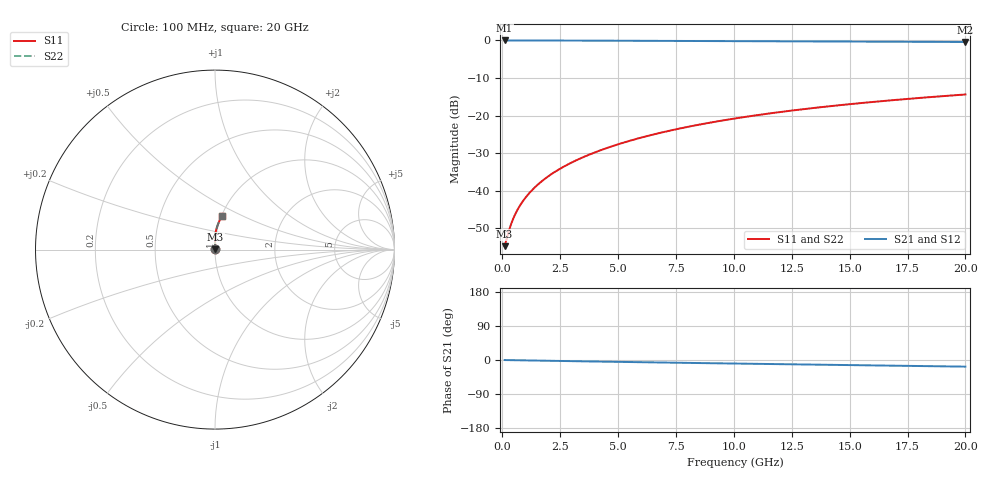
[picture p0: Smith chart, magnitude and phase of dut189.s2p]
! Touchstone file exported from HFSS 2024.1.0
!  File:  C:/UserFiles/LocalFiles/RDL_TSV_Batchsim/temp_RDL_bottom_189_1778699022.aedt
!  Generated:  03:06:36 AM May 14, 2026
!  Design:  RDL_bottom
!  Project:  temp_RDL_bottom_189_1778699022
!  Setup:  Setup1
!  Solution:  Sweep
! Variables:
!  dtsv = 10.80580581um
!  hbump = 3um
!  htsv = 62.81um
!  ldown = 204.89um
!  lrdl = 100um
!  p = 40
!  p1 = 55.94um
!  rhole = 1um
!  t = 450um
!  tdown = 2.21um
!  trdl = 3.915915916um
!  wdown = 27.74um
!  wrdl = 20um
# GHz S MA R 50.000000
! Terminal data exported
! Port[1] = RDL1_T1
! Port[2] = RDL1_T2
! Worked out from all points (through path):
!   200 points, 100 MHz to 20 GHz, reference 50 ohm
!   highest |S21| = -0.01 dB at 100 MHz (marker M1); lowest = -0.4 dB at 20 GHz (marker M2)
!   group delay of S21, straight-line fit = 2.4 ps
!   lowest |S11| = -54.8 dB at 100 MHz (marker M3), VSWR 1.00, Z = 50.2 + j0.0855 ohm
!   |S11| at or under -10 dB: start of sweep to end of sweep
!   |S22| runs from -54.8 to -14.4 dB; largest |S21 - S12| = 4.1e-15
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0.1  0.001821 27.9  0.9984 -0.1  0.9984 -0.1  0.001821 27.9
! Gamma 0 0 0 0
! Port Impedance 50 0 50 0
0.3  0.003023 55.8  0.9982 -0.3  0.9982 -0.3  0.003023 55.8
0.4  0.003725 62.0  0.9982 -0.4  0.9982 -0.4  0.003725 62.0
0.5  0.004437 66.2  0.9981 -0.5  0.9981 -0.5  0.004437 66.2
0.6  0.005152 69.3  0.998 -0.6  0.998 -0.6  0.005152 69.3
0.8  0.00659 73.8  0.9978 -0.8  0.9978 -0.8  0.00659 73.8
1  0.008045 76.9  0.9976 -1.0  0.9976 -1.0  0.008045 76.9
1.2  0.009519 79.2  0.9974 -1.2  0.9974 -1.2  0.009519 79.2
1.7  0.0133 83.2  0.9968 -1.8  0.9968 -1.8  0.0133 83.2
2.2  0.0172 85.7  0.9961 -2.3  0.9961 -2.3  0.0172 85.7
2.8  0.02205 87.7  0.9951 -2.8  0.9951 -2.8  0.02205 87.7
3.5  0.02794 89.2  0.9937 -3.5  0.9937 -3.5  0.02794 89.2
4.2  0.03407 90.1  0.9921 -4.2  0.9921 -4.2  0.03407 90.1
5  0.04135 90.7  0.9901 -5.0  0.9901 -5.0  0.04135 90.7
5.9  0.04985 90.8  0.9879 -5.8  0.9879 -5.8  0.04984 90.8
6.8  0.0586 90.6  0.9855 -6.6  0.9855 -6.6  0.05859 90.6
8.4  0.07458 89.7  0.9814 -8.0  0.9814 -8.0  0.07457 89.7
10.1  0.09187 88.3  0.9771 -9.4  0.9771 -9.4  0.09186 88.3
11.7  0.1082 86.8  0.9731 -10.8  0.9731 -10.8  0.1082 86.8
13.4  0.1255 85.0  0.9689 -12.2  0.9689 -12.2  0.1255 85.0
16.7  0.1585 81.6  0.9609 -14.9  0.9609 -14.9  0.1585 81.6
20  0.1905 78.3  0.9526 -17.5  0.9526 -17.5  0.1905 78.3
